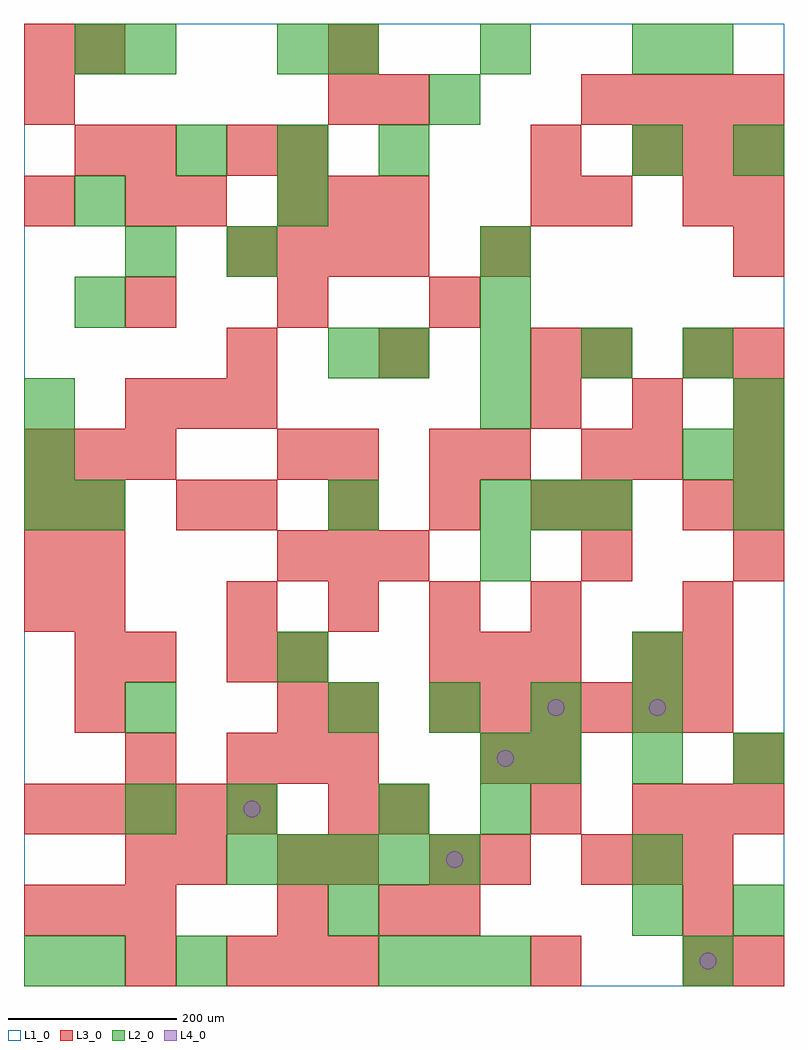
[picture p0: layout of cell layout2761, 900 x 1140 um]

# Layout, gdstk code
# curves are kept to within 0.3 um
import gdstk
lib = gdstk.Library(unit=1e-6, precision=1e-09)
def R(c, l, rs):  # rectangles x0, y0, x1, y1
    for r in rs: c.add(gdstk.rectangle(r[:2], r[2:], *l))
def A(c, l, x, y, w, h, nx, ny, dx, dy):  # array of equal rectangles
    R(c, l, [(x+i*dx, y+j*dy, x+i*dx+w, y+j*dy+h) for i in range(nx) for j in range(ny)])
def P(c, l, *ps):  # polygons
    for p in ps: c.add(gdstk.Polygon(p, *l))
L1_0 = (1, 0)
L2_0 = (2, 0)
L3_0 = (3, 0)
L4_0 = (4, 0)

layout2761 = lib.new_cell('layout2761')
R(layout2761, L1_0, [(0,0,900,1140)])
A(layout2761, L2_0, 420, 0, 60, 60, 3, 1, 60, 0)
A(layout2761, L2_0, 240, 120, 60, 60, 5, 1, 60, 0)
A(layout2761, L2_0, 600, 240, 60, 60, 3, 1, 120, 0)
A(layout2761, L2_0, 360, 300, 60, 60, 4, 1, 120, 0)
A(layout2761, L2_0, 0, 540, 60, 60, 1, 3, 0, 60)
A(layout2761, L2_0, 540, 540, 60, 60, 3, 1, 60, 0)
A(layout2761, L2_0, 840, 540, 60, 60, 1, 3, 0, 60)
A(layout2761, L2_0, 420, 720, 60, 60, 4, 1, 120, 0)
A(layout2761, L2_0, 180, 960, 60, 60, 3, 1, 120, 0)
A(layout2761, L2_0, 360, 1080, 60, 60, 3, 1, 180, 0)
R(layout2761, L2_0, [(0,0,60,60), (60,0,120,60), (180,0,240,60), (780,0,840,60), (360,60,420,120), (720,60,780,120), (840,60,900,120), (720,120,780,180), (120,180,180,240), (240,180,300,240), (420,180,480,240), (540,180,600,240), (540,240,600,300), (120,300,180,360), (300,360,360,420), (720,360,780,420), (540,480,600,540), (60,540,120,600), (360,540,420,600), (780,600,840,660), (540,660,600,720), (360,720,420,780), (60,780,120,840), (540,780,600,840), (120,840,180,900), (240,840,300,900), (540,840,600,900), (60,900,120,960), (300,900,360,960), (720,960,780,1020), (840,960,900,1020), (480,1020,540,1080), (60,1080,120,1140), (120,1080,180,1140), (300,1080,360,1140), (780,1080,840,1140)])
A(layout2761, L3_0, 120, 0, 60, 60, 1, 4, 0, 120)
A(layout2761, L3_0, 240, 0, 60, 60, 3, 2, 60, 240)
A(layout2761, L3_0, 840, 0, 60, 60, 1, 3, 0, 240)
A(layout2761, L3_0, 0, 60, 60, 60, 3, 2, 60, 540)
A(layout2761, L3_0, 660, 120, 60, 60, 3, 1, 60, 0)
A(layout2761, L3_0, 0, 180, 60, 60, 5, 1, 60, 0)
A(layout2761, L3_0, 720, 180, 60, 60, 3, 2, 60, 780)
A(layout2761, L3_0, 60, 300, 60, 60, 1, 5, 0, 60)
A(layout2761, L3_0, 480, 300, 60, 60, 6, 1, 60, 0)
A(layout2761, L3_0, 480, 360, 60, 60, 3, 1, 60, 0)
A(layout2761, L3_0, 0, 420, 60, 60, 1, 3, 0, 60)
A(layout2761, L3_0, 240, 420, 60, 60, 4, 2, 120, 120)
A(layout2761, L3_0, 300, 480, 60, 60, 3, 2, 60, 420)
A(layout2761, L3_0, 660, 480, 60, 60, 1, 3, 0, 60)
A(layout2761, L3_0, 780, 540, 60, 60, 1, 3, 0, 180)
A(layout2761, L3_0, 840, 600, 60, 60, 1, 3, 0, 120)
A(layout2761, L3_0, 120, 660, 60, 60, 3, 1, 60, 0)
A(layout2761, L3_0, 600, 660, 60, 60, 3, 1, 120, 0)
A(layout2761, L3_0, 240, 720, 60, 60, 3, 1, 180, 0)
A(layout2761, L3_0, 120, 780, 60, 60, 3, 1, 180, 0)
A(layout2761, L3_0, 240, 840, 60, 60, 4, 1, 60, 0)
A(layout2761, L3_0, 660, 1020, 60, 60, 4, 1, 60, 0)
R(layout2761, L3_0, [(600,0,660,60), (780,0,840,60), (300,60,360,120), (420,60,480,120), (480,60,540,120), (780,60,840,120), (180,120,240,180), (300,120,360,180), (360,120,420,180), (480,120,540,180), (540,120,600,180), (360,180,420,240), (420,180,480,240), (600,180,660,240), (540,240,600,300), (600,240,660,300), (300,300,360,360), (360,300,420,360), (240,360,300,420), (300,360,360,420), (720,360,780,420), (780,360,840,420), (780,420,840,480), (180,540,240,600), (840,540,900,600), (300,600,360,660), (360,600,420,660), (480,600,540,660), (540,600,600,660), (720,600,780,660), (660,720,720,780), (540,840,600,900), (0,900,60,960), (120,900,180,960), (180,900,240,960), (600,900,660,960), (660,900,720,960), (840,900,900,960), (60,960,120,1020), (120,960,180,1020), (240,960,300,1020), (300,960,360,1020), (600,960,660,1020), (0,1020,60,1080), (360,1020,420,1080), (420,1020,480,1080), (0,1080,60,1140), (60,1080,120,1140), (360,1080,420,1140)])
P(layout2761, L4_0, [(280,210),(279.239,213.827),(277.071,217.071),(273.827,219.239),(270,220),(266.173,219.239),(262.929,217.071),(260.761,213.827),(260,210),(260.761,206.173),(262.929,202.929),(266.173,200.761),(270,200),(273.827,200.761),(277.071,202.929),(279.239,206.173)],
  [(520,150),(519.239,153.827),(517.071,157.071),(513.827,159.239),(510,160),(506.173,159.239),(502.929,157.071),(500.761,153.827),(500,150),(500.761,146.173),(502.929,142.929),(506.173,140.761),(510,140),(513.827,140.761),(517.071,142.929),(519.239,146.173)],
  [(580,270),(579.239,273.827),(577.071,277.071),(573.827,279.239),(570,280),(566.173,279.239),(562.929,277.071),(560.761,273.827),(560,270),(560.761,266.173),(562.929,262.929),(566.173,260.761),(570,260),(573.827,260.761),(577.071,262.929),(579.239,266.173)],
  [(640,330),(639.239,333.827),(637.071,337.071),(633.827,339.239),(630,340),(626.173,339.239),(622.929,337.071),(620.761,333.827),(620,330),(620.761,326.173),(622.929,322.929),(626.173,320.761),(630,320),(633.827,320.761),(637.071,322.929),(639.239,326.173)],
  [(760,330),(759.239,333.827),(757.071,337.071),(753.827,339.239),(750,340),(746.173,339.239),(742.929,337.071),(740.761,333.827),(740,330),(740.761,326.173),(742.929,322.929),(746.173,320.761),(750,320),(753.827,320.761),(757.071,322.929),(759.239,326.173)],
  [(820,30),(819.239,33.827),(817.071,37.071),(813.827,39.239),(810,40),(806.173,39.239),(802.929,37.071),(800.761,33.827),(800,30),(800.761,26.173),(802.929,22.929),(806.173,20.761),(810,20),(813.827,20.761),(817.071,22.929),(819.239,26.173)])

lib.write_gds('layout2761.gds')
